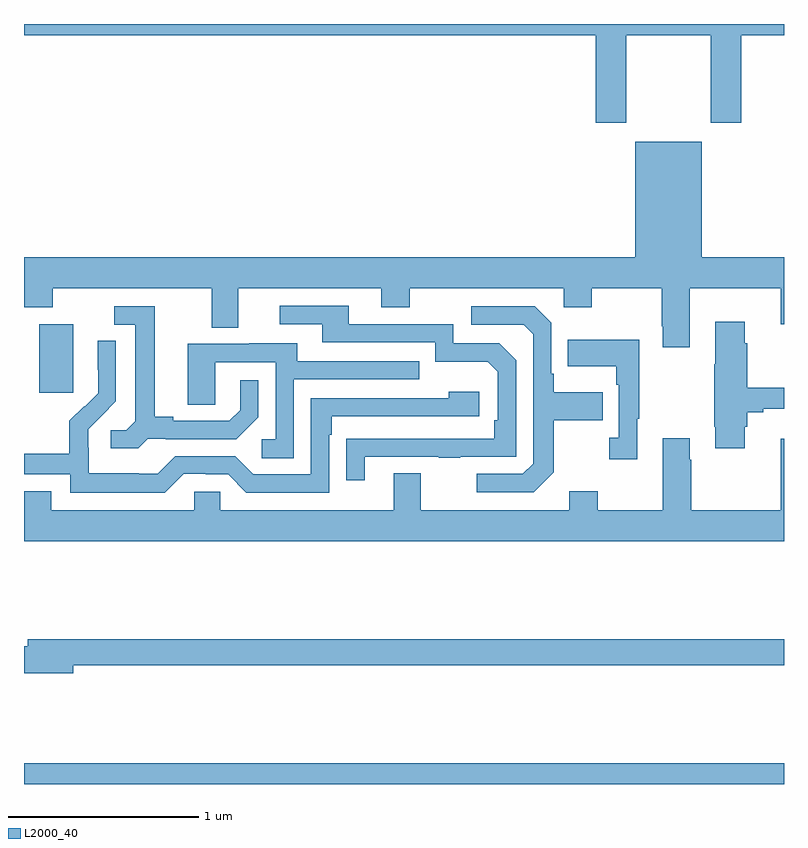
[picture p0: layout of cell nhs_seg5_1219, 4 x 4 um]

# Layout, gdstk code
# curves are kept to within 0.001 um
import gdstk
lib = gdstk.Library(unit=1e-6, precision=1e-09)
def R(c, l, rs):  # rectangles x0, y0, x1, y1
    for r in rs: c.add(gdstk.rectangle(r[:2], r[2:], *l))
def P(c, l, *ps):  # polygons
    for p in ps: c.add(gdstk.Polygon(p, *l))
L2000_40 = (2000, 40)

nhs_seg5_1219 = lib.new_cell('nhs_seg5_1219')
R(nhs_seg5_1219, L2000_40, [(185,872.799,189,872.908), (185.081,874.857,185.26,875.218)])
P(nhs_seg5_1219, L2000_40, [(188.169,876.74),(188.614,876.74),(188.614,876.279),(188.774,876.279),(188.774,876.74),(189,876.74),(189,876.799),(185,876.799),(185,876.74),(188.009,876.74),(188.009,876.279),(188.169,876.279)],
  [(188.503,875.408),(188.984,875.408),(188.984,875.22),(189,875.22),(189,875.572),(188.566,875.572),(188.566,876.178),(188.216,876.178),(188.216,875.572),(185,875.572),(185,875.309),(185.151,875.309),(185.151,875.408),(185.987,875.408),(185.987,875.2),(186.127,875.2),(186.127,875.408),(186.881,875.408),(186.881,875.309),(187.029,875.309),(187.029,875.408),(187.842,875.408),(187.842,875.309),(187.989,875.309),(187.989,875.408),(188.356,875.408),(188.356,875.209),(188.363,875.209),(188.363,875.097),(188.503,875.097)],
  [(186.793,874.521),(187.183,874.521),(187.183,874.516),(187.295,874.516),(187.295,874.521),(187.59,874.521),(187.59,875.028),(187.5,875.118),(187.26,875.118),(187.26,875.22),(186.709,875.22),(186.709,875.316),(186.345,875.316),(186.345,875.22),(186.569,875.22),(186.569,875.124),(187.164,875.124),(187.164,875.021),(187.441,875.021),(187.494,874.968),(187.494,874.714),(187.474,874.714),(187.474,874.617),(186.697,874.616),(186.697,874.398),(186.793,874.398)],
  [(187.789,874.441),(187.789,874.714),(188.045,874.714),(188.045,874.861),(187.789,874.861),(187.789,874.957),(187.776,874.957),(187.776,875.226),(187.689,875.313),(187.353,875.313),(187.353,875.217),(187.629,875.217),(187.68,875.166),(187.68,874.485),(187.626,874.431),(187.383,874.431),(187.383,874.335),(187.683,874.335)],
  [(185.652,874.617),(185.746,874.617),(185.746,874.614),(186.118,874.614),(186.234,874.73),(186.234,874.924),(186.137,874.924),(186.137,874.767),(186.08,874.71),(185.785,874.71),(185.785,874.733),(185.689,874.733),(185.689,875.313),(185.475,875.313),(185.475,875.217),(185.585,875.217),(185.585,874.709),(185.538,874.662),(185.457,874.662),(185.457,874.565),(185.6,874.565)],
  [(188.794,874.679),(188.807,874.679),(188.807,874.756),(188.89,874.756),(188.89,874.775),(189,874.775),(189,874.885),(188.807,874.885),(188.807,875.12),(188.794,875.12),(188.794,875.233),(188.639,875.233),(188.639,875.009),(188.632,875.009),(188.632,874.678),(188.639,874.678),(188.639,874.566),(188.794,874.566)],
  [(188.227,874.721),(188.239,874.721),(188.239,875.137),(187.861,875.137),(187.861,874.997),(188.118,874.997),(188.118,874.901),(188.13,874.901),(188.13,874.622),(188.079,874.622),(188.079,874.509),(188.227,874.509)],
  [(185.841,874.431),(185.957,874.431),(185.957,874.428),(186.075,874.428),(186.171,874.332),(186.606,874.332),(186.606,874.637),(186.619,874.637),(186.619,874.734),(187.396,874.734),(187.396,874.864),(187.235,874.864),(187.235,874.83),(186.51,874.83),(186.51,874.428),(186.207,874.428),(186.111,874.524),(185.796,874.524),(185.703,874.431),(185.603,874.431),(185.603,874.435),(185.34,874.435),(185.34,874.569),(185.338,874.569),(185.338,874.666),(185.484,874.814),(185.484,875.132),(185.388,875.132),(185.388,874.978),(185.39,874.978),(185.39,874.856),(185.319,874.785),(185.316,874.788),(185.239,874.711),(185.239,874.537),(185,874.537),(185,874.428),(185.244,874.428),(185.244,874.331),(185.741,874.331)],
  [(186.42,874.929),(187.079,874.929),(187.079,875.025),(186.439,875.025),(186.439,875.119),(186.185,875.119),(186.185,875.115),(185.861,875.115),(185.861,874.795),(186.006,874.795),(186.006,875.019),(186.324,875.019),(186.324,874.614),(186.252,874.614),(186.252,874.513),(186.42,874.513)],
  [(186.947,874.435),(186.947,874.24),(186.033,874.24),(186.033,874.338),(185.895,874.338),(185.895,874.24),(185.143,874.24),(185.143,874.339),(185,874.339),(185,874.076),(189,874.076),(189,874.615),(188.984,874.615),(188.984,874.24),(188.511,874.24),(188.511,874.505),(188.503,874.505),(188.503,874.618),(188.363,874.618),(188.363,874.24),(188.019,874.24),(188.019,874.339),(187.871,874.339),(187.871,874.24),(187.087,874.24),(187.087,874.435)],
  [(185.26,873.424),(189,873.424),(189,873.56),(185.021,873.56),(185.021,873.524),(185,873.524),(185,873.382),(185.26,873.382)])

lib.write_gds('nhs_seg5_1219.gds')
